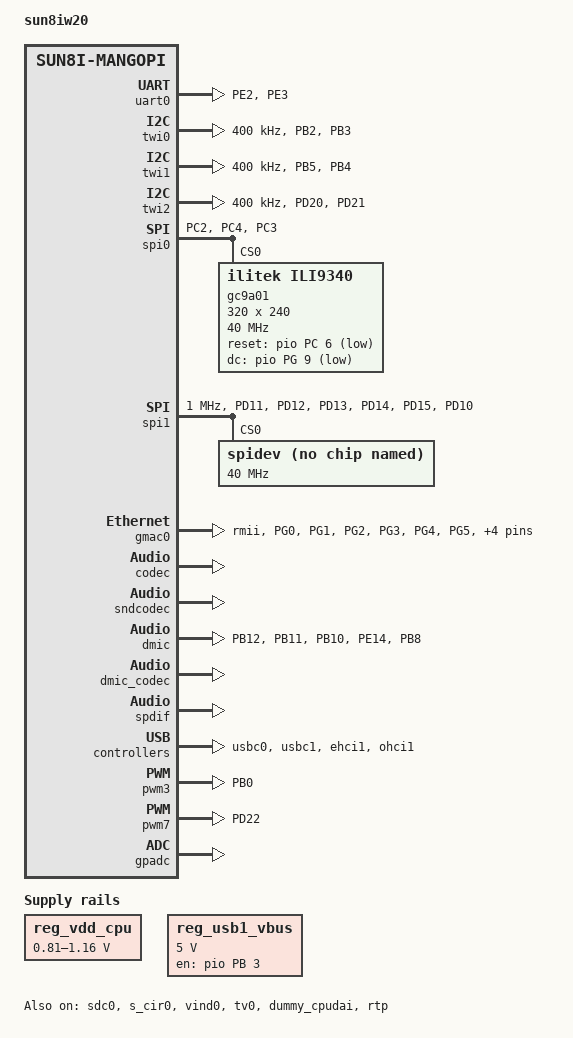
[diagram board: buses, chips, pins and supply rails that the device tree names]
/*
 * Allwinner Technology CO., Ltd.
 */

/dts-v1/;

 /* optee used 7MB: SHM 2M: OS: 1M: TA:4M*/
/memreserve/ 0x41900000 0x00100000;
/* DSP used 1MB */
/* /memreserve/ 0x42000000 0x00100000; */

#include "sun8iw20p1-linux.dtsi"

/{
	model = "sun8iw20";
	compatible = "allwinner,t113", "allwinner,r528", "arm,sun8iw20p1";

	reg_vdd_cpu: vdd-cpu {
		compatible = "sunxi-pwm-regulator";
		pwms = <&pwm 3 5000 0>;
		regulator-name = "vdd_cpu";
		regulator-min-microvolt = <810000>;
		regulator-max-microvolt = <1160000>;
		regulator-ramp-delay = <25>;
		regulator-always-on;
		regulator-boot-on;
		status = "okay";
	};

	reg_usb1_vbus: usb1-vbus {
		compatible = "regulator-fixed";
		regulator-name = "usb1-vbus";
		regulator-min-microvolt = <5000000>;
		regulator-max-microvolt = <5000000>;
		regulator-enable-ramp-delay = <1000>;
		gpio = <&pio PB 3 GPIO_ACTIVE_HIGH>;
		enable-active-high;
	};
};

&cpu0 {
	cpu-supply = <&reg_vdd_cpu>;
};

&pio {
	sdc0_pins_a: sdc0@0 {
		allwinner,pins = "PF0", "PF1", "PF2",
				 "PF3", "PF4", "PF5";
		allwinner,function = "sdc0";
		allwinner,muxsel = <2>;
		allwinner,drive = <3>;
		allwinner,pull = <1>;
		pins = "PF0", "PF1", "PF2",
		       "PF3", "PF4", "PF5";
		function = "sdc0";
		drive-strength = <30>;
		bias-pull-up;
		power-source = <3300>;
	};

	sdc0_pins_b: sdc0@1 {
		pins = "PF0", "PF1", "PF2",
		       "PF3", "PF4", "PF5";
		function = "sdc0";
		drive-strength = <30>;
		bias-pull-up;
		power-source = <1800>;
	};

	sdc0_pins_c: sdc0@2 {
		pins = "PF0", "PF1", "PF2",
			"PF3", "PF4", "PF5";
		function = "gpio_in";
	};

	/* TODO: add jtag pin */
	sdc0_pins_d: sdc0@3 {
		pins = "PF2", "PF4";
		function = "uart0";
		drive-strength = <10>;
		bias-pull-up;
	};

	sdc0_pins_e: sdc0@4 {
		pins = "PF0", "PF1", "PF3",
			"PF5";
		function = "jtag";
		drive-strength = <10>;
		bias-pull-up;
	};


	sdc1_pins_a: sdc1@0 {
		pins = "PG0", "PG1", "PG2",
		       "PG3", "PG4", "PG5";
		function = "sdc1";
		drive-strength = <30>;
		bias-pull-up;
	};

	sdc1_pins_b: sdc1@1 {
		pins = "PG0", "PG1", "PG2",
		       "PG3", "PG4", "PG5";
			function = "sdc1";
	};

	sdc2_pins_b: sdc2@1 {
		pins = "PC2", "PC3", "PC4",
		       "PC5", "PC6", "PC7";
		function = "gpio_in";
	};

	wlan_pins_a:wlan@0 {
		pins = "PE11";
		function = "clk_fanout1";
	};

    uart0_pins_a: uart0_pins@0 {  /* For nezha board */
        pins = "PE2", "PE3";
        function = "uart0";
        drive-strength = <10>;
        bias-pull-up;
    };

    uart0_pins_b: uart0_pins@1 {  /* For nezha board */
        pins = "PE2", "PE3";
        function = "gpio_in";
    };

	uart2_pins_a: uart2_pins@0 {  /* For EVB1 board */
		pins = "PC0", "PC1";
		function = "uart2";
		drive-strength = <10>;
		bias-pull-up;
	};

	uart2_pins_b: uart2_pins@1 {  /* For EVB1 board */
		pins = "PC0", "PC1";
		function = "gpio_in";
	};

	twi0_pins_a: twi0@0 {
		pins = "PB2", "PB3";
		function = "twi0";
		drive-strength = <10>;
	};

	twi0_pins_b: twi0@1 {
		pins = "PB2", "PB3";
		function = "gpio_in";
	};

	twi1_pins_a: twi1@0 {
		pins = "PB5", "PB4";
		function = "twi1";
		drive-strength = <10>;
	};

	twi1_pins_b: twi1@1 {
		pins = "PB5", "PB4";
		function = "gpio_in";
	};

	twi2_pins_a: twi2@0 {
		pins = "PD20", "PD21";
		function = "twi2";
		drive-strength = <10>;
	};

	twi2_pins_b: twi2@1 {
		pins = "PD20", "PD21";
		function = "gpio_in";
	};

	twi3_pins_a: twi3@0 {
		/* pins = "PE16", "PE17"; */
		/* pins = "PG10", "PG11"; */
		pins = "PB6", "PB7";
		function = "twi3";
		drive-strength = <10>;
	};

	twi3_pins_b: twi3@1 {
		/* pins = "PE16", "PE17"; */
		/* pins = "PG10", "PG11"; */
		pins = "PB6", "PB7";
		function = "gpio_in";
	};

	s_cir0_pins_a: s_cir0@0 {
		pins = "PB1";
		function = "ir";
		drive-strength = <10>;
		bias-pull-up;
	};

	s_cir0_pins_b: s_cir0@1 {
		pins = "PB1";
		function = "gpio_in";
	};

	ir1_pins_a: ir1@0 {
		pins = "PB0";
		function = "ir";
		drive-strength = <10>;
		bias-pull-up;
	};

	ir1_pins_b: ir1@1 {
		pins = "PB0";
		function = "gpio_in";
	};


	dmic_pins_a: dmic@0 {
		/* DMIC_PIN: CLK, DATA0, DATA1, DATA2, DATA3*/
		pins = "PB12", "PB11", "PB10", "PE14", "PB8";
		function = "dmic";
		drive-strength = <20>;
		bias-disable;
	};

	dmic_pins_b: dmic@1 {
		pins = "PB12", "PB11", "PB10", "PE14", "PB8";
		allwinner,function = "io_disabled";
		drive-strength = <20>;
		bias-disable;
	};

	daudio0_pins_a: daudio0@0 {
		pins = "PB29", "PB23", "PB24",
		       "PB25", "PB26", "PB27", "PB28",
		       "PB22";
		function = "i2s0";
		drive-strength = <20>;
		bias-disable;
	};

	daudio0_pins_b: daudio0_sleep@0 {
		pins = "PB29", "PB23", "PB24",
		       "PB25", "PB26", "PB27", "PB28",
		       "PB22";
		function = "io_disabled";
		drive-strength = <20>;
		bias-disable;
	};

	daudio1_pins_a: daudio1@0 {
		/* MCLK, LRCK, BCLK */
		pins = "PG12", "PG13";
		function = "i2s1";
		drive-strength = <20>;
		bias-disable;
	};

	daudio1_pins_b: daudio1@1 {
		/* DIN0 */
		pins = "PG14";
		function = "i2s1_din";
		drive-strength = <20>;
		bias-disable;
	};

	daudio1_pins_c: daudio1@2 {
		/* DOUT0 */
		pins = "PG15";
		function = "i2s1_dout";
		drive-strength = <20>;
		bias-disable;
	};

	daudio1_pins_d: daudio1_sleep@0 {
		pins = "PG12", "PG13", "PG14", "PG15";
		function = "io_disabled";
		drive-strength = <20>;
		bias-disable;
	};

	daudio2_pins_a: daudio2@0 {
		/* I2S_PIN: MCLK, BCLK, LRCK */
		pins = "PB7", "PB6", "PB5";
		function = "i2s2";
		drive-strength = <20>;
		bias-disable;
	};

	daudio2_pins_b: daudio2@1 {
		/* I2S_PIN: DIN0 */
		pins = "PB3";
		function = "i2s2_din";
		drive-strength = <20>;
		bias-disable;
	};

	daudio2_pins_c: daudio2@2 {
		/* I2S_PIN: DOUT0 */
		pins = "PB4";
		function = "i2s2_dout";
		drive-strength = <20>;
		bias-disable;
	};

	daudio2_pins_d: daudio2_sleep@0 {
		pins = "PB7", "PB6", "PB5", "PB4", "PB3";
		function = "io_disabled";
		drive-strength = <20>;
		bias-disable;
	};

	spdif_pins_a: spdif@0 {
		/* SPDIF_PIN: SPDIF_OUT */
		pins = "PG18";
		function = "spdif";
		drive-strength = <20>;
		bias-disable;
	};

	spdif_pins_b: spdif_sleep@0 {
		pins = "PG18";
		function = "io_disabled";
		drive-strength = <20>;
		bias-disable;
	};
	gmac0_pins_a: gmac@0 {
		allwinner,pins = "PG0", "PG1", "PG2", "PG3", "PG4",
				       "PG5", "PG12", "PG13", "PG14", "PG15";
		allwinner,function = "gmac0";
		allwinner,muxsel = <4>;
		allwinner,drive = <1>;
		allwinner,pull = <0>;
	};

	gmac0_pins_b: gmac@1 {
		allwinner,pins = "PG0", "PG1", "PG2", "PG3", "PG4",
				       "PG5", "PG12", "PG13", "PG14", "PG15";
		allwinner,function = "gpio_in";
		allwinner,muxsel = <4>;
		allwinner,drive = <1>;
		allwinner,pull = <0>;
	};

	spi0_pins_a: spi0@0 {
		pins = "PC2", "PC4", "PC5","PC7", "PC6"; /*clk mosi miso hold wp*/
		function = "spi0";
		drive-strength = <10>;
	};

	spi0_pins_b: spi0@1 {
		pins = "PC3";
		function = "spi0";
		drive-strength = <10>;
		bias-pull-up;   /* only CS should be pulled up */
	};


	spi0_pins_lcd: spi0@3 {
		allwinner,pins = "PC2", "PC4"; /* clk, mosi */
		allwinner,function = "spi0";
		allwinner,muxsel = <4>;
		allwinner,drive = <1>;
		allwinner,pull = <0>;
	};

	spi0_pins_lcd_cs: spi0@4 {
		allwinner,pins = "PC3"; /* cs */
		allwinner,function = "spi0";
		allwinner,muxsel = <4>;
		allwinner,pull = <1>;
		allwinner,drive = <1>;
	};

	spi0_pins_c: spi0@2 {
		pins = "PC2", "PC3", "PC4", "PC5","PC6", "PC7";
		function = "io_disabled";
		drive-strength = <10>;
	};


	gc9a01_pins: spi0@6 {
		allwinner,pins = "PG9"; //"PC6", "PG9";
		allwinner,function = "gpio_out";
		drive-strength = <10>;
	};

	spi1_pins_a: spi1@0 {
		pins = "PD11", "PD12", "PD13","PD14", "PD15"; /*clk mosi miso hold wp*/
		function = "spi1";
		drive-strength = <10>;
	};

	spi1_pins_b: spi1@1 {
		pins = "PD10";
		function = "spi1";
		drive-strength = <10>;
		bias-pull-up;   // only CS should be pulled up
	};

	spi1_pins_c: spi1@2 {
		allwinner,pins = "PD10", "PD11", "PD12", "PD13","PD14", "PD15";
		allwinner,function = "gpio_in";
		allwinner,muxsel = <0>;
		drive-strength = <10>;
	};

	pwm3_pin_a: pwm3@0 {
		pins = "PB0";
		function = "pwm3";
		drive-strength = <10>;
		bias-pull-up;
	};

	pwm3_pin_b: pwm3@1 {
		pins = "PB0";
		function = "gpio_in";
	};

	pwm7_pin_a: pwm7@0 {
		pins = "PD22";
		function = "pwm7";
		drive-strength = <10>;
		bias-pull-up;
	};

	pwm7_pin_b: pwm7@1 {
		pins = "PD22";
		function = "gpio_in";
	};

	ledc_pins_a: ledc@0 {
		pins = "PF2";
		function = "ledc";
		drive-strength = <10>;
	};

	ledc_pins_b: ledc@1 {
		pins = "PF2";
		function = "gpio_in";
	};
};

&uart0 {
	pinctrl-names = "default", "sleep";
	pinctrl-0 = <&uart0_pins_a>;
	pinctrl-1 = <&uart0_pins_b>;
	status = "okay";
};

&uart2 {
    pinctrl-names = "default", "sleep";
    pinctrl-0 = <&uart2_pins_a>;
    pinctrl-1 = <&uart2_pins_b>;
    status = "disabled";
};


&sdc0 {
	bus-width = <4>;
	cd-gpios = <&pio PF 6 (GPIO_ACTIVE_LOW | GPIO_PULL_UP)>;
	/*non-removable;*/
	/*broken-cd;*/
	/*cd-inverted*/
	/*data3-detect;*/
	/*card-pwr-gpios = <&pio PH 14 1 1 2 0xffffffff>;*/
	cd-used-24M;
	cap-sd-highspeed;
	/*sd-uhs-sdr50;*/
	/*sd-uhs-ddr50;*/
	/*sd-uhs-sdr104;*/
	no-sdio;
	no-mmc;
	sunxi-power-save-mode;
	/*sunxi-dis-signal-vol-sw;*/
	max-frequency = <150000000>;
	ctl-spec-caps = <0x8>;
	/*vmmc-supply = <&reg_dcdc1>;*/
	/*vqmmc33sw-supply = <&reg_dcdc1>;*/
	/*vdmmc33sw-supply = <&reg_dcdc1>;*/
	/*vqmmc18sw-supply = <&reg_eldo1>;*/
	/*vdmmc18sw-supply = <&reg_eldo1>;*/
	status = "okay";
};

&sdc1 {
	bus-width = <4>;
	no-mmc;
	no-sd;
	cap-sd-highspeed;
	/*sd-uhs-sdr12*/
	/*sd-uhs-sdr25;*/
	/*sd-uhs-sdr50;*/
	/*sd-uhs-ddr50;*/
	/*sd-uhs-sdr104;*/
	/*sunxi-power-save-mode;*/
	/*sunxi-dis-signal-vol-sw;*/
	cap-sdio-irq;
	keep-power-in-suspend;
	ignore-pm-notify;
	max-frequency = <150000000>;
	ctl-spec-caps = <0x8>;
	status = "disabled";
};

&twi0 {
	clock-frequency = <400000>;
	pinctrl-0 = <&twi0_pins_a>;
	pinctrl-1 = <&twi0_pins_b>;
	pinctrl-names = "default", "sleep";
	status = "okay";
        ctp@14 {
                compatible = "allwinner,goodix";
                device_type = "ctp";
                reg = <0x14>;
                status = "disabled";
                ctp_name = "gt9xxnew_ts";
                ctp_twi_id = <0x2>;
                ctp_twi_addr = <0x14>;
                ctp_screen_max_x = <0x320>;
                ctp_screen_max_y = <0x1e0>;
                ctp_revert_x_flag = <0x0>;
                ctp_revert_y_flag = <0x0>;
                ctp_exchange_x_y_flag = <0x0>;
                ctp_int_port = <&pio PB 6 GPIO_ACTIVE_HIGH>;
                ctp_wakeup = <&pio PB 7 GPIO_ACTIVE_HIGH>;
                /*ctp-supply = <&reg_aldo2>;*/
                /*ctp_power_ldo = <&reg_aldo2>;*/
                /*ctp_power_ldo_vol = <3300>;*/
        };
};

&twi1 {
	clock-frequency = <400000>;
	pinctrl-0 = <&twi1_pins_a>;
	pinctrl-1 = <&twi1_pins_b>;
	pinctrl-names = "default", "sleep";
	status = "okay";
};

&twi2 {
	clock-frequency = <400000>;
	pinctrl-0 = <&twi2_pins_a>;
	pinctrl-1 = <&twi2_pins_b>;
	pinctrl-names = "default", "sleep";
	status = "okay";
};

&twi3 {
	clock-frequency = <400000>;
	pinctrl-0 = <&twi3_pins_a>;
	pinctrl-1 = <&twi3_pins_b>;
	pinctrl-names = "default", "sleep";
	status = "disabled";
	ac108: ac108@3B {
		#sound-dai-cells = <0>;
		compatible = "Allwinner,MicArray_0";
		device_type = "MicArray_0";
		reg = <0x3B>;
		regulator_used = <0x0>;
		power_voltage = <3300000>;
		regulator_name = "vcc-3v3";
		power_gpio_used = <0x0>;
		reset_gpio_used = <0x0>;
		twi_bus = <0x1>;
		pga_gain = <0x1F>;
		slot_width = <0x20>;
		lrck_period = <0x80>;
		ref_pga_used = <0x1>;
		ref_pga_gain = <0x10>;
		ref_channel = <0x3>;
		debug_mode = <0x0>;
		status = "disabled";
	};
};




&spi0 {
	pinctrl-0 = <&spi0_pins_lcd &spi0_pins_lcd_cs>;
	pinctrl-names = "default", "sleep";
	spi_slave_mode = <0>;
	spi0_cs_number = <1>;
    spi0_cs_bitmap = <1>;
	status = "okay";
	#address-cells = <1>;
    #size-cells = <0>;
	
	gc9a01@0 {
	status = "okay";
		compatible = "ilitek,ili9340";
		reg = <0>;
		pinctrl-names = "default";
		reset         = <&pio PC 6 GPIO_ACTIVE_LOW>;
		dc            = <&pio PG 9 GPIO_ACTIVE_LOW>;
		spi-max-frequency = <0x2625A00>;
		buswidth = <8>;
		txbuflen = <32768>;
		width    = <320>;
		height   = <240>;
		rotate   = <0>;
		bgr      = <0>;
		debug = <1>;
	};


/*
	spidev@0{

		compatible = "rohm,dh2228fv";
    	status = "okay";
		spi-max-frequency = <0x2625A00>;
		reg = <0>;
	};
*/

};

&spi1 {
	clock-frequency = <1000000>;
	pinctrl-0 = <&spi1_pins_a &spi1_pins_b>;
	pinctrl-1 = <&spi1_pins_c>;
	pinctrl-names = "default", "sleep";
	spi_slave_mode = <0>;
	spi1_cs_number = <1>;
    spi1_cs_bitmap = <1>;
	status = "okay";

/*
	spi_board1@0 {
		device_type = "spi_board1";
		compatible = "rohm,dh2228fv";
		spi-max-frequency = <0x5f5e100>;
		reg = <0x0>;
		spi-rx-bus-width = <0x4>;
		spi-tx-bus-width = <0x4>;
		status = "okay";
	};
*/

	spidev@0{

		compatible = "rohm,dh2228fv";
    	status = "okay";
		spi-max-frequency = <0x2625A00>;
		reg = <0>;
	};


};





&ledc {
	pinctrl-0 = <&ledc_pins_a>;
	pinctrl-1 = <&ledc_pins_b>;
	led_count = <32>;
	output_mode = "GRB";
	reset_ns = <84>;
	t1h_ns = <800>;
	t1l_ns = <450>;
	t0h_ns = <400>;
	t0l_ns = <850>;
	wait_time0_ns = <84>;
	wait_time1_ns = <84>;
	wait_data_time_ns = <600000>;
	status	= "disabled";
};

&s_cir0 {
	pinctrl-names = "default";
	pinctrl-0 = <&s_cir0_pins_a>;
	status = "okay";
};

&ir1 {
	pinctrl-names = "default";
	pinctrl-0 = <&ir1_pins_a>;
	status = "disabled";
};

&gmac0 {
	pinctrl-0 = <&gmac0_pins_a>;
	pinctrl-names = "default";
	phy-mode = "rmii";
	use_ephy25m = <0>;
	tx-delay = <7>;
	rx-delay = <31>;
	phy-rst = <&pio PG 11 GPIO_ACTIVE_HIGH>;
	status = "okay";
};

&soc {
	platform@45000004 {
		reg = <0x0 0x45000004 0x0 0x0>;
		eraseflag   = <1>;
		next_work   = <3>;
		debug_mode  = <8>;
	};

	target@45000008 {
		reg = <0x0 0x45000008 0x0 0x0>;
		boot_clock = <1008>;	/*CPU boot frequency, Unit: MHz*/
		storage_type = <0xffffffff>; /*boot medium, 0-nand, 1-card0, 2-card2, -1(defualt)auto scan*/
		burn_key = <0>;		/*1:support burn key; 0:not support burn key*/
		dragonboard_test = <0>;	/*1:support card boot dragonboard; 0:not support card boot dragonboard*/
	};

	card0_boot_para@2 {
		/*
		 * Avoid dtc compiling warnings.
		 * @TODO: Developer should modify this to the actual value
		 */
		reg = <0x0 0x2 0x0 0x0>;
		device_type = "card0_boot_para";
		card_ctrl = <0x0>;
		card_high_speed = <0x1>;
		card_line = <0x4>;
		pinctrl-0 = <&sdc0_pins_a>;
	};

};

&vind0 {
	csi_top = <378000000>;
	csi_isp = <327000000>;
	status = "okay"; /* enable twi and ver1 spi-nand max freq 30M */

	actuator0: actuator@5809450 {
		device_type = "actuator0";
		actuator0_name = "ad5820_act";
		actuator0_slave = <0x18>;
		actuator0_af_pwdn = <>;
		actuator0_afvdd = "afvcc-csi";
		actuator0_afvdd_vol = <2800000>;
		status = "disabled";
	};
	flash0: flash@5809460 {
		device_type = "flash0";
		flash0_type = <2>;
		flash0_en = <>;
		flash0_mode = <>;
		flash0_flvdd = "";
		flash0_flvdd_vol = <>;
		device_id = <0>;
		status = "disabled";
	};
	sensor0:sensor@5809470 {
		device_type = "sensor0";
		sensor0_mname = "n5";
		sensor0_twi_cci_id = <3>;
		sensor0_twi_addr = <0x64>;
		sensor0_mclk_id = <0>;
		sensor0_pos = "rear";
		sensor0_isp_used = <0>;
		sensor0_fmt = <0>;
		sensor0_stby_mode = <0>;
		sensor0_vflip = <0>;
		sensor0_hflip = <0>;
		sensor0_iovdd-supply = <>;
		sensor0_iovdd_vol = <3300000>;
		sensor0_avdd-supply = <>;
		sensor0_avdd_vol = <1200000>;
		sensor0_dvdd-supply = <>;
		sensor0_dvdd_vol = <1200000>;
		sensor0_power_en = <>;
		sensor0_reset = <&pio PE 13 GPIO_ACTIVE_LOW>;
		sensor0_pwdn = <>;
		status	= "okay";
	};
	sensor1:sensor@5809480 {
		device_type = "sensor1";
		sensor1_mname = "ov5647";
		sensor1_twi_cci_id = <3>;
		sensor1_twi_addr = <0x6c>;
		sensor1_mclk_id = <1>;
		sensor1_pos = "front";
		sensor1_isp_used = <0>;
		sensor1_fmt = <0>;
		sensor1_stby_mode = <0>;
		sensor1_vflip = <0>;
		sensor1_hflip = <0>;
		sensor1_iovdd-supply = <>;
		sensor1_iovdd_vol = <>;
		sensor1_avdd-supply = <>;
		sensor1_avdd_vol = <>;
		sensor1_dvdd-supply = <>;
		sensor1_dvdd_vol = <>;
		sensor1_power_en = <>;
		sensor1_reset = <&pio PE 7 GPIO_ACTIVE_LOW>;
		sensor1_pwdn = <&pio PE 6 GPIO_ACTIVE_LOW>;
		status	= "disabled";
	};
	vinc0:vinc@5809000 {
		vinc0_csi_sel = <0>;
		vinc0_mipi_sel = <0xff>;
		vinc0_isp_sel = <0>;
		vinc0_isp_tx_ch = <0>;
		vinc0_tdm_rx_sel = <0xff>;
		vinc0_rear_sensor_sel = <0>;
		vinc0_front_sensor_sel = <0>;
		vinc0_sensor_list = <0>;
		status = "okay";
	};
	vinc1:vinc@5809200 {
		vinc1_csi_sel = <0>;
		vinc1_mipi_sel = <0xff>;
		vinc1_isp_sel = <0>;
		vinc1_isp_tx_ch = <1>;
		vinc1_tdm_rx_sel = <0xff>;
		vinc1_rear_sensor_sel = <0>;
		vinc1_front_sensor_sel = <0>;
		vinc1_sensor_list = <0>;
		status = "okay";
	};
};


/*----------------------------------------------------------------------------------
;tv configuration
;interface          (interface type,1<->cvbs,2<->YPBPR,4<->SVIDEO)
;dac_type           (0<->composite,1<->luma,2<->chroma,3<->reserved,4<->y/green,
;                    5<->u/pb/blue,6<->v/pr/red)
;dac_src            (dac no,support dac_src0~dac_src3,dac num max is 4)
;NOTE:              tv0,tv1 can not use the same dac_src.
;---------------------------------------------------------------------------------*/
&tv0 {
	interface       = <1>;
	dac_type0       = <0>;
	dac_src0        = <0>;

	status =  "okay";
};



/* Audio Driver modules */
&codec {
	/* MIC and headphone gain setting */
	mic1gain 		= <0x1F>;
	mic2gain 		= <0x1F>;
	mic3gain 		= <0x1F>;
	/* ADC/DAC DRC/HPF func enabled */
	/* 0x1:DAP_HP_EN; 0x2:DAP_SPK_EN; 0x3:DAP_HPSPK_EN */
	adcdrc_cfg		= <0x0>;
	adchpf_cfg		= <0x1>;
	dacdrc_cfg		= <0x0>;
	dachpf_cfg		= <0x0>;
	/* Volume about */
	digital_vol 	= <0x00>;
	lineout_vol 	= <0x1a>;
	headphonegain	= <0x03>;
	/* Pa enabled about */
	pa_level 		= <0x01>;
	pa_pwr_level 	= <0x01>;
	pa_msleep_time 	= <0x78>;
	/* gpio-spk	= <&pio PE 11 GPIO_ACTIVE_LOW>; */
	/* CMA config about */
	playback_cma	= <128>;
	capture_cma	= <256>;
	/* regulator about */
	/* avcc-supply	= <&reg_aldo1>; */
	/* hpvcc-supply	= <&reg_eldo1>; */
	status = "okay";
};

&sndcodec {
	hp_detect_case	= <0x00>;
	jack_enable		= <0x01>;
	status = "okay";
};

&dummy_cpudai {
	playback_cma	= <128>;
	capture_cma		= <256>;
	status			= "okay";
};

&dmic {
	pinctrl-names   = "default","sleep";
	pinctrl-0       = <&dmic_pins_a>;
	pinctrl-1       = <&dmic_pins_b>;
	status = "okay";
};

&dmic_codec {
	status = "okay";
};

&sounddmic {
	status = "okay";
};

/*-----------------------------------------------------------------------------
 * pcm_lrck_period	16/32/64/128/256
 *			(set 0x20 for HDMI audio out)
 * slot_width_select	16bits/20bits/24bits/32bits
 *			(set 0x20 for HDMI audio out)
 * frametype		0 --> short frame = 1 clock width;
 *			1 --> long frame = 2 clock width;
 * tdm_config		0 --> pcm
 *			1 --> i2s
 *			(set 0x01 for HDMI audio out)
 * mclk_div		0 --> not output
 *			1/2/4/6/8/12/16/24/32/48/64/96/128/176/192
 *			(set mclk as external codec clk source, freq is pll_audio/mclk_div)
 * pinctrl_used		0 --> I2S/PCM use for internal (e.g. HDMI)
 *			1 --> I2S/PCM use for external audio
 * daudio_type:		0 --> external audio type
 *			1 --> HDMI audio type
 *---------------------------------------------------------------------------*/
&daudio0 {
	mclk_div 	= <0x01>;
	frametype 	= <0x00>;
	tdm_config 	= <0x01>;
	sign_extend 	= <0x00>;
	msb_lsb_first 	= <0x00>;
	pcm_lrck_period = <0x80>;
	slot_width_select = <0x20>;
	pinctrl-names   = "default", "sleep";
	pinctrl-0       = <&daudio0_pins_a>;
	pinctrl-1       = <&daudio0_pins_b>;
	pinctrl_used	= <0x0>;
	status = "disabled";
};

&sounddaudio0 {
	status = "disabled";
	daudio0_master: simple-audio-card,codec {
		/* sound-dai = <&ac108>; */
	};
};

/*-----------------------------------------------------------------------------
 * simple-audio-card,name	name of sound card, e.g.
 *				"snddaudio0" --> use for external audio
 *				"sndhdmi" --> use for HDMI audio
 * sound-dai			"snd-soc-dummy" --> use for I2S
 *				"hdmiaudio" --> use for HDMI audio
 *				"ac108" --> use for external audio of ac108
 *---------------------------------------------------------------------------*/
&daudio1 {
	mclk_div 	= <0x01>;
	frametype 	= <0x00>;
	tdm_config 	= <0x01>;
	sign_extend 	= <0x00>;
	msb_lsb_first 	= <0x00>;
	pcm_lrck_period = <0x80>;
	slot_width_select = <0x20>;
	pinctrl-names   = "default", "sleep";
	pinctrl-0       = <&daudio1_pins_a &daudio1_pins_b &daudio1_pins_c>;
	pinctrl-1       = <&daudio1_pins_d>;
	pinctrl_used	= <0x1>;
	status = "disabled";
};

&sounddaudio1 {
	status = "disabled";
	daudio1_master: simple-audio-card,codec {
		/* sound-dai = <&ac108>; */
	};
};

&daudio2 {
	mclk_div 	= <0x01>;
	frametype 	= <0x00>;
	tdm_config 	= <0x01>;
	sign_extend 	= <0x00>;
	msb_lsb_first 	= <0x00>;
	pcm_lrck_period = <0x80>;
	slot_width_select = <0x20>;
	pinctrl-names   = "default", "sleep";
	pinctrl-0       = <&daudio2_pins_a &daudio2_pins_b &daudio2_pins_c>;
	pinctrl-1       = <&daudio2_pins_d>;
	pinctrl_used	= <0x1>;
	status = "disabled";
};

&sounddaudio2 {
	status = "disabled";
	daudio2_master: simple-audio-card,codec {
		/* sound-dai = <&ac108>; */
	};
};

&spdif {
	status = "okay";
};

&soundspdif {
	status = "okay";
};

/*
 *usb_port_type: usb mode. 0-device, 1-host, 2-otg.
 *usb_detect_type: usb hotplug detect mode. 0-none, 1-vbus/id detect, 2-id/dpdm detect.
 *usb_detect_mode: 0-thread scan, 1-id gpio interrupt.
 *usb_id_gpio: gpio for id detect.
 *usb_det_vbus_gpio: gpio for id detect. gpio or "axp_ctrl";
 *usb_wakeup_suspend：0-SUPER_STANDBY, 1-USB_STANDBY.
 */
&usbc0 {
	device_type = "usbc0";
	usb_port_type = <0x2>;
	usb_detect_type = <0x1>;
	usb_detect_mode = <0>;
	usb_id_gpio = <&pio PB 6 GPIO_ACTIVE_HIGH>;
	enable-active-high;
	usb_det_vbus_gpio = <&pio PB 2 GPIO_ACTIVE_HIGH>;
	usb_wakeup_suspend = <0>;
	usb_serial_unique = <0>;
	usb_serial_number = "20080411";
	rndis_wceis = <1>;
	status = "okay";
};

&ehci0 {
	drvvbus-supply = <&reg_usb1_vbus>;
};

&ohci0 {
	drvvbus-supply = <&reg_usb1_vbus>;
};

&usbc1 {
	device_type = "usbc1";
	usb_port_type = <0x01>;
	sb_detect_type = <0x1>;
	usb_regulator_io = "nocare";
	usb_wakeup_suspend = <0>;
	status = "okay";
};
&ehci1 {
	drvvbus-supply = <&reg_usb1_vbus>;
	status = "okay";
};

&ohci1 {
	drvvbus-supply = <&reg_usb1_vbus>;
	status = "okay";
};

&pwm3 {
	pinctrl-names = "active", "sleep";
	pinctrl-0 = <&pwm3_pin_a>;
	pinctrl-1 = <&pwm3_pin_b>;
	status = "okay";
};

&pwm7 {
	pinctrl-names = "active", "sleep";
	pinctrl-0 = <&pwm7_pin_a>;
	pinctrl-1 = <&pwm7_pin_b>;
	status = "okay";
};

&gpadc {
	channel_num = <1>;
	channel_select = <0x1>;
	channel_data_select = <0>;
	channel_compare_select = <0x1>;
	channel_cld_select = <0x1>;
	channel_chd_select = <0>;
	channel0_compare_lowdata = <1700000>;
	channel0_compare_higdata = <1200000>;
	channel1_compare_lowdata = <460000>;
	channel1_compare_higdata = <1200000>;
	key_cnt = <5>;
	key0_vol = <210>;
	key0_val = <115>;
	key1_vol = <410>;
	key1_val = <114>;
	key2_vol = <590>;
	key2_val = <119>;
	key3_vol = <750>;
	key3_val = <373>;
	key4_vol = <880>;
	key4_val = <28>;
	status = "okay";
};

&rtp {
	allwinner,tp-sensitive-adjust = <0xf>;
	allwinner,filter-type = <0x1>;
	allwinner,ts-attached;
	status = "okay";
};
